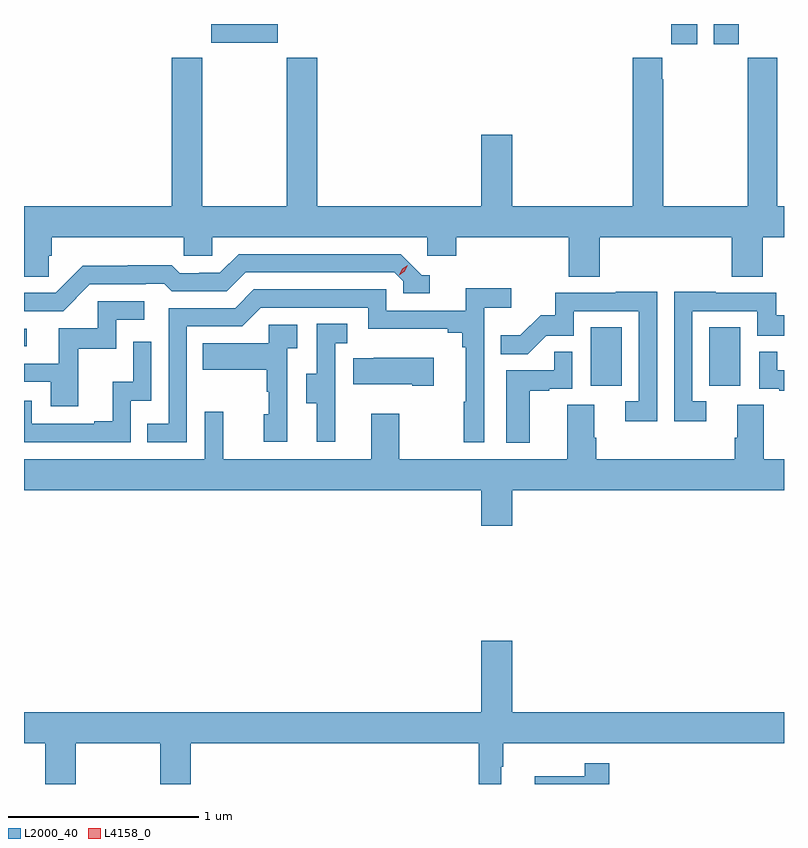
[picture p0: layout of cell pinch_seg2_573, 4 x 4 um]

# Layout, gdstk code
import gdstk
lib = gdstk.Library(unit=1e-6, precision=1e-09)
def R(c, l, rs):  # rectangles x0, y0, x1, y1
    for r in rs: c.add(gdstk.rectangle(r[:2], r[2:], *l))
def P(c, l, *ps):  # polygons
    for p in ps: c.add(gdstk.Polygon(p, *l))
L2000_40 = (2000, 40)
L4158_0 = (4158, 0)

pinch_seg2_573 = lib.new_cell('pinch_seg2_573')
R(pinch_seg2_573, L2000_40, [(1124.624,609.558,1124.788,609.865), (1125.248,609.558,1125.412,609.865), (1121.641,609.765,1121.656,609.858), (1125.047,611.355,1125.184,611.462), (1125.272,611.355,1125.403,611.462), (1122.626,611.363,1122.976,611.462)])
P(pinch_seg2_573, L2000_40, [(1121.641,610.132),(1121.771,610.132),(1121.771,610.242),(1121.786,610.242),(1121.786,610.34),(1122.483,610.34),(1122.483,610.242),(1122.633,610.242),(1122.633,610.34),(1123.764,610.34),(1123.764,610.242),(1123.916,610.242),(1123.916,610.34),(1124.507,610.34),(1124.507,610.132),(1124.672,610.132),(1124.672,610.34),(1125.365,610.34),(1125.365,610.132),(1125.53,610.132),(1125.53,610.34),(1125.641,610.34),(1125.641,610.504),(1125.606,610.504),(1125.606,611.284),(1125.451,611.284),(1125.451,610.504),(1125.006,610.504),(1125.006,611.171),(1125.001,611.171),(1125.001,611.284),(1124.846,611.284),(1124.846,610.504),(1124.212,610.504),(1124.212,610.879),(1124.048,610.879),(1124.048,610.504),(1123.184,610.504),(1123.184,611.284),(1123.024,611.284),(1123.024,610.504),(1122.579,610.504),(1122.579,611.284),(1122.419,611.284),(1122.419,610.504),(1121.641,610.504)],
  [(1121.988,610.092),(1122.281,610.092),(1122.281,610.095),(1122.38,610.095),(1122.419,610.056),(1122.708,610.056),(1122.807,610.155),(1123.59,610.155),(1123.638,610.107),(1123.638,610.044),(1123.777,610.044),(1123.777,610.14),(1123.734,610.14),(1123.623,610.251),(1122.77,610.251),(1122.671,610.152),(1122.564,610.152),(1122.564,610.149),(1122.461,610.149),(1122.419,610.192),(1122.186,610.192),(1122.186,610.189),(1121.95,610.189),(1121.808,610.047),(1121.641,610.047),(1121.641,609.951),(1121.847,609.951)],
  [(1122.498,609.87),(1122.789,609.87),(1122.888,609.969),(1123.452,609.969),(1123.452,609.857),(1123.871,609.857),(1123.871,609.838),(1123.948,609.838),(1123.948,609.761),(1123.967,609.761),(1123.967,609.473),(1123.956,609.473),(1123.956,609.261),(1124.064,609.261),(1124.064,609.968),(1124.206,609.968),(1124.206,610.07),(1123.967,610.07),(1123.967,609.954),(1123.548,609.954),(1123.548,610.065),(1122.851,610.065),(1122.752,609.966),(1122.402,609.966),(1122.402,609.357),(1122.289,609.357),(1122.289,609.261),(1122.498,609.261)],
  [(1125.232,609.477),(1125.159,609.477),(1125.159,609.951),(1125.501,609.951),(1125.501,609.822),(1125.641,609.822),(1125.641,609.93),(1125.6,609.93),(1125.6,610.047),(1125.281,610.047),(1125.281,610.052),(1125.063,610.052),(1125.063,609.372),(1125.232,609.372)],
  [(1124.973,610.052),(1124.755,610.052),(1124.755,610.047),(1124.437,610.047),(1124.437,609.93),(1124.36,609.93),(1124.253,609.823),(1124.149,609.823),(1124.149,609.724),(1124.292,609.724),(1124.39,609.822),(1124.535,609.822),(1124.535,609.951),(1124.877,609.951),(1124.877,609.477),(1124.805,609.477),(1124.805,609.372),(1124.973,609.372)],
  [(1121.927,609.753),(1122.126,609.753),(1122.126,609.906),(1122.274,609.906),(1122.274,610.002),(1122.03,610.002),(1122.03,609.861),(1121.825,609.861),(1121.825,609.675),(1121.641,609.675),(1121.641,609.579),(1121.783,609.579),(1121.783,609.45),(1121.927,609.45)],
  [(1123.28,609.477),(1123.278,609.477),(1123.278,609.781),(1123.342,609.781),(1123.342,609.884),(1123.182,609.884),(1123.182,609.621),(1123.127,609.621),(1123.127,609.466),(1123.181,609.466),(1123.181,609.264),(1123.28,609.264)],
  [(1123.026,609.755),(1123.078,609.755),(1123.078,609.879),(1122.93,609.879),(1122.93,609.781),(1122.583,609.781),(1122.583,609.641),(1122.918,609.641),(1122.918,609.527),(1122.928,609.527),(1122.928,609.408),(1122.902,609.408),(1122.902,609.264),(1123.026,609.264)],
  [(1122.204,609.48),(1122.312,609.48),(1122.312,609.79),(1122.216,609.79),(1122.216,609.578),(1122.107,609.578),(1122.107,609.37),(1122.011,609.37),(1122.011,609.357),(1121.682,609.357),(1121.682,609.48),(1121.641,609.48),(1121.641,609.261),(1122.204,609.261)],
  [(1124.302,609.531),(1124.405,609.531),(1124.405,609.543),(1124.526,609.543),(1124.526,609.737),(1124.431,609.737),(1124.431,609.639),(1124.18,609.639),(1124.18,609.257),(1124.302,609.257)],
  [(1125.641,609.639),(1125.605,609.639),(1125.605,609.737),(1125.51,609.737),(1125.51,609.543),(1125.617,609.543),(1125.617,609.531),(1125.641,609.531)],
  [(1123.798,609.706),(1123.483,609.706),(1123.483,609.703),(1123.375,609.703),(1123.375,609.566),(1123.685,609.566),(1123.685,609.559),(1123.798,609.559)],
  [(1124.212,609.008),(1125.641,609.008),(1125.641,609.172),(1125.535,609.172),(1125.535,609.458),(1125.395,609.458),(1125.395,609.284),(1125.383,609.284),(1125.383,609.172),(1124.654,609.172),(1124.654,609.284),(1124.641,609.284),(1124.641,609.458),(1124.501,609.458),(1124.501,609.172),(1123.617,609.172),(1123.617,609.412),(1123.469,609.412),(1123.469,609.172),(1122.689,609.172),(1122.689,609.421),(1122.591,609.421),(1122.591,609.172),(1121.641,609.172),(1121.641,609.008),(1124.048,609.008),(1124.048,608.82),(1124.212,608.82)],
  [(1121.913,607.676),(1122.358,607.676),(1122.358,607.462),(1122.518,607.462),(1122.518,607.676),(1124.035,607.676),(1124.035,607.462),(1124.152,607.462),(1124.152,607.553),(1124.164,607.553),(1124.164,607.676),(1125.641,607.676),(1125.641,607.84),(1124.212,607.84),(1124.212,608.215),(1124.048,608.215),(1124.048,607.84),(1121.641,607.84),(1121.641,607.676),(1121.753,607.676),(1121.753,607.462),(1121.913,607.462)],
  [(1124.72,607.57),(1124.592,607.57),(1124.592,607.504),(1124.33,607.504),(1124.33,607.462),(1124.72,607.462)])
P(pinch_seg2_573, L4158_0, [(1123.615,610.14),(1123.615,610.14),(1123.631,610.173),(1123.661,610.193),(1123.661,610.193),(1123.661,610.193),(1123.646,610.16),(1123.616,610.14)])

lib.write_gds('pinch_seg2_573.gds')
